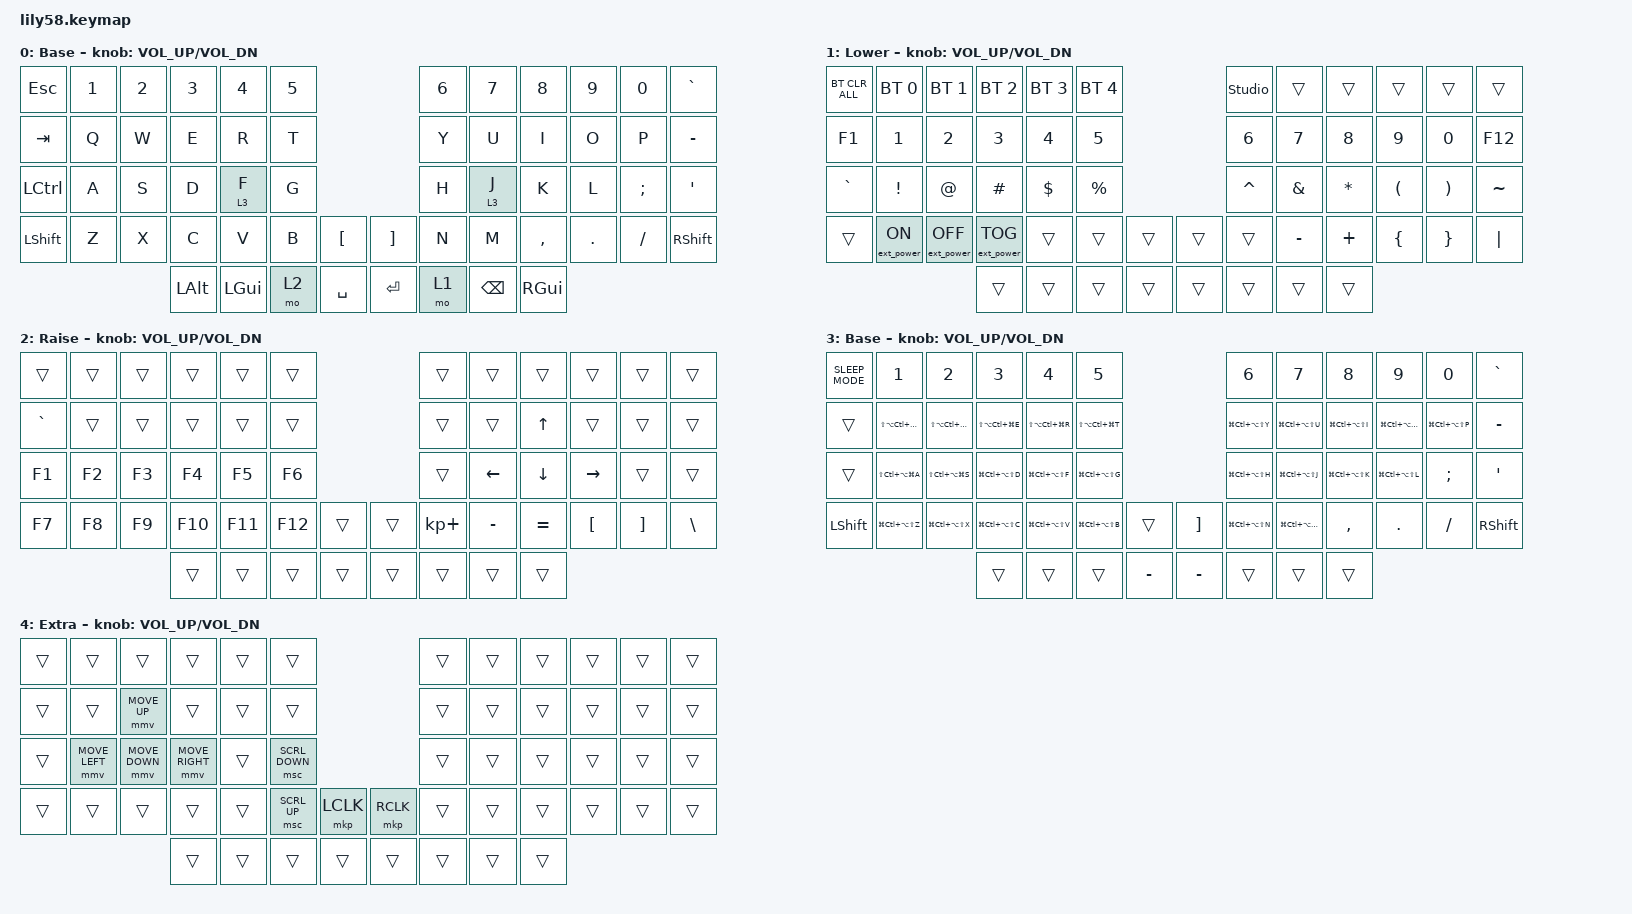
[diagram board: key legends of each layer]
/*
 * Copyright (c) 2020 The ZMK Contributors
 *
 * SPDX-License-Identifier: MIT
 */

#include <behaviors.dtsi>
#include <dt-bindings/zmk/bt.h>
#include <dt-bindings/zmk/ext_power.h>
#include <dt-bindings/zmk/keys.h>
#include <dt-bindings/zmk/pointing.h>

#define default_layer 0
#define lower_layer 1
#define raise_layer 2
#define adjust_layer 3
#define extra_layer 4

/ {
    keymap {
        compatible = "zmk,keymap";

        default_layer {
            display-name = "Base";

            // ------------------------------------------------------------------------------------------------------------
            // |  ESC  |  1  |  2  |  3   |  4   |  5   |                   |  6   |  7    |  8    |  9   |   0   |   `   |
            // |  TAB  |  Q  |  W  |  E   |  R   |  T   |                   |  Y   |  U    |  I    |  O   |   P   |   -   |
            // |  CTRL |  A  |  S  |  D   |  F   |  G   |                   |  H   |  J    |  K    |  L   |   ;   |   '   |
            // | SHIFT |  Z  |  X  |  C   |  V   |  B   |   "["  |  |  "]"  |  N   |  M    |  ,    |  .   |   /   | SHIFT |
            //                     | ALT  | GUI  | LOWER|  SPACE |  | ENTER | RAISE| BSPC  | GUI   |

            bindings = <
&kp ESC    &kp N1  &kp N2  &kp N3    &kp N4    &kp N5                         &kp N6  &kp N7    &kp N8     &kp N9   &kp N0    &kp GRAVE
&kp TAB    &kp Q   &kp W   &kp E     &kp R     &kp T                          &kp Y   &kp U     &kp I      &kp O    &kp P     &kp MINUS
&kp LCTRL  &kp A   &kp S   &kp D     &lt 3 F   &kp G                          &kp H   &lt 3 J   &kp K      &kp L    &kp SEMI  &kp SQT
&kp LSHFT  &kp Z   &kp X   &kp C     &kp V     &kp B   &kp LBKT     &kp RBKT  &kp N   &kp M     &kp COMMA  &kp DOT  &kp FSLH  &kp RSHFT
                           &kp LALT  &kp LGUI  &mo 2   &kp SPACE    &kp RET   &mo 1   &kp BSPC  &kp RGUI
            >;

            sensor-bindings = <&inc_dec_kp C_VOL_UP C_VOL_DN>;
        };

        lower_layer {
            display-name = "Lower";

            // ------------------------------------------------------------------------------------------------------------
            // | BTCLR | BT1 | BT2 |  BT3 |  BT4 |  BT5 |                   |      |       |       |      |       |       |
            // |  F1   |  F2 |  F3 |  F4  |  F5  |  F6  |                   |  F7  |  F8   |  F9   |  F10 |  F11  |  F12  |
            // |   `   |  !  |  @  |  #   |  $   |  %   |                   |  ^   |  &    |  *    |  (   |   )   |   ~   |
            // |       |     |     |      |      |      |        |  |       |      |  _    |  +    |  {   |   }   |  "|"  |
            //                     |      |      |      |        |  |       |      |       |       |

            bindings = <
&bt BT_CLR_ALL  &bt BT_SEL 0      &bt BT_SEL 1       &bt BT_SEL 2       &bt BT_SEL 3  &bt BT_SEL 4                    &studio_unlock  &trans     &trans     &trans    &trans    &trans
&kp F1          &kp NUMBER_1      &kp NUMBER_2       &kp NUMBER_3       &kp NUMBER_4  &kp N5                          &kp NUMBER_6    &kp N7     &kp N8     &kp N9    &kp N0    &kp F12
&kp GRAVE       &kp EXCL          &kp AT             &kp HASH           &kp DOLLAR    &kp PRCNT                       &kp CARET       &kp AMPS   &kp ASTRK  &kp LPAR  &kp RPAR  &kp TILDE
&trans          &ext_power EP_ON  &ext_power EP_OFF  &ext_power EP_TOG  &trans        &trans        &trans    &trans  &trans          &kp MINUS  &kp PLUS   &kp LBRC  &kp RBRC  &kp PIPE
                                                     &trans             &trans        &trans        &trans    &trans  &trans          &trans     &trans
            >;

            sensor-bindings = <&inc_dec_kp C_VOL_UP C_VOL_DN>;
        };

        raise_layer {
            display-name = "Raise";

            // ------------------------------------------------------------------------------------------------------------
            // |       |     |     |      |      |      |                   |      |       |       |      |       |       |
            // |   `   |  1  |  2  |  3   |  4   |  5   |                   |  6   |   7   |   8   |  9   |   0   |       |
            // |   F1  |  F2 |  F3 |  F4  |  F5  |  F6  |                   |      |   <-  |   v   |  ^   |  ->   |       |
            // |   F7  |  F8 |  F9 |  F10 |  F11 |  F12 |        |  |       |  +   |   -   |   =   |  [   |   ]   |   \   |
            //                     |      |      |      |        |  |       |      |       |       |

            bindings = <
&trans     &trans  &trans  &trans   &trans   &trans                     &trans       &trans     &trans        &trans     &trans    &trans
&kp GRAVE  &trans  &trans  &trans   &trans   &trans                     &trans       &trans     &kp UP_ARROW  &trans     &trans    &trans
&kp F1     &kp F2  &kp F3  &kp F4   &kp F5   &kp F6                     &trans       &kp LEFT   &kp DOWN      &kp RIGHT  &trans    &trans
&kp F7     &kp F8  &kp F9  &kp F10  &kp F11  &kp F12  &trans    &trans  &kp KP_PLUS  &kp MINUS  &kp EQUAL     &kp LBKT   &kp RBKT  &kp BSLH
                           &trans   &trans   &trans   &trans    &trans  &trans       &trans     &trans
            >;

            sensor-bindings = <&inc_dec_kp C_VOL_UP C_VOL_DN>;
        };

        adjust_layer {
            display-name = "Base";
            bindings = <
&kp C_SLEEP_MODE  &kp N1                 &kp N2                 &kp N3                 &kp N4                 &kp N5                                         &kp N6                 &kp N7                 &kp N8                 &kp N9                 &kp N0                 &kp GRAVE
&trans            &kp LS(LA(LC(LG(Q))))  &kp LS(LA(LC(LG(W))))  &kp LS(LA(LC(LG(E))))  &kp LS(LA(LC(LG(R))))  &kp LS(LA(LC(LG(T))))                          &kp LG(LC(LA(LS(Y))))  &kp LG(LC(LA(LS(U))))  &kp LG(LC(LA(LS(I))))  &kp LG(LC(LA(LS(O))))  &kp LG(LC(LA(LS(P))))  &kp MINUS
&trans            &kp LS(LC(LA(LG(A))))  &kp LS(LC(LA(LG(S))))  &kp LG(LC(LA(LS(D))))  &kp LG(LC(LA(LS(F))))  &kp LG(LC(LA(LS(G))))                          &kp LG(LC(LA(LS(H))))  &kp LG(LC(LA(LS(J))))  &kp LG(LC(LA(LS(K))))  &kp LG(LC(LA(LS(L))))  &kp SEMI               &kp SQT
&kp LEFT_SHIFT    &kp LG(LC(LA(LS(Z))))  &kp LG(LC(LA(LS(X))))  &kp LG(LC(LA(LS(C))))  &kp LG(LC(LA(LS(V))))  &kp LG(LC(LA(LS(B))))  &trans       &kp RBKT   &kp LG(LC(LA(LS(N))))  &kp LG(LC(LA(LS(M))))  &kp COMMA              &kp DOT                &kp FSLH               &kp RSHFT
                                                                &trans                 &trans                 &trans                 &kp MINUS    &kp MINUS  &trans                 &trans                 &trans
            >;

            sensor-bindings = <&inc_dec_kp C_VOL_UP C_VOL_DN>;
        };

        extra_layer {
            display-name = "Extra";

            // ------------------------------------------------------------------------------------------------------------
            // |       |     |     |      |      |      |                   |      |       |       |      |       |       |
            // |   `   |  1  |  2  |  3   |  4   |  5   |                   |  6   |   7   |   8   |  9   |   0   |       |
            // |   F1  |  F2 |  F3 |  F4  |  F5  |  F6  |                   |      |   <-  |   v   |  ^   |  ->   |       |
            // |   F7  |  F8 |  F9 |  F10 |  F11 |  F12 |        |  |       |  +   |   -   |   =   |  [   |   ]   |   \   |
            //                     |      |      |      |        |  |       |      |       |       |

            bindings = <
&trans  &trans          &trans          &trans           &trans  &trans                                  &trans  &trans  &trans  &trans  &trans  &trans
&trans  &trans          &mmv MOVE_UP    &trans           &trans  &trans                                  &trans  &trans  &trans  &trans  &trans  &trans
&trans  &mmv MOVE_LEFT  &mmv MOVE_DOWN  &mmv MOVE_RIGHT  &trans  &msc SCRL_DOWN                          &trans  &trans  &trans  &trans  &trans  &trans
&trans  &trans          &trans          &trans           &trans  &msc SCRL_UP    &mkp LCLK    &mkp RCLK  &trans  &trans  &trans  &trans  &trans  &trans
                                        &trans           &trans  &trans          &trans       &trans     &trans  &trans  &trans
            >;

            sensor-bindings = <&inc_dec_kp C_VOL_UP C_VOL_DN>;
        };
    };
};
